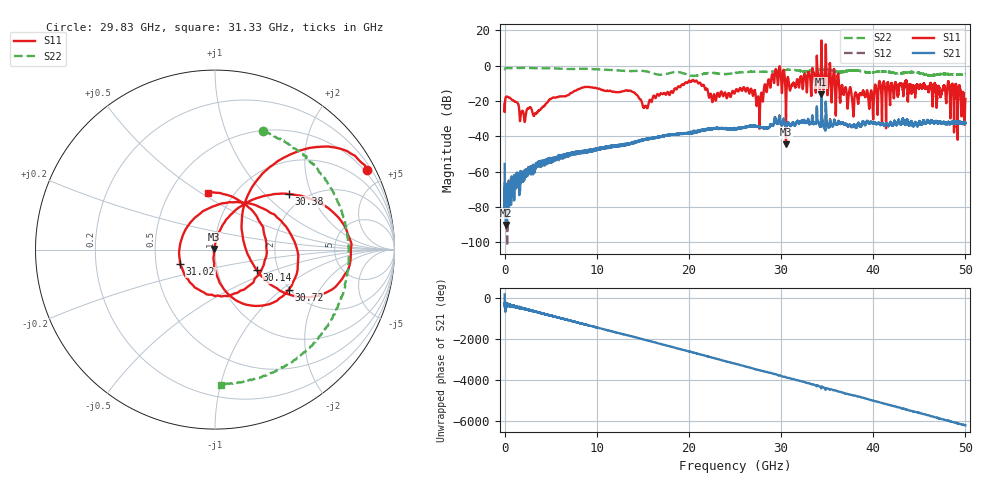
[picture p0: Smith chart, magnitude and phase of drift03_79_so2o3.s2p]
!Created with skrf (http://scikit-rf.org).
# Hz S RI R 50.0
!freq ReS11 ImS11 ReS21 ImS21 ReS12 ImS12 ReS22 ImS22
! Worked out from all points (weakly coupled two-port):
!   10001 points, 300 kHz to 50 GHz, reference 50 ohm
!   highest |S21| = -16.23 dB at 34.37 GHz (marker M1); lowest = -90.3 dB at 170.3 MHz (marker M2)
!   lowest |S11| = -44.5 dB at 30.53 GHz (marker M3), VSWR 1.01, Z = 49.6 + j0.39 ohm
!   |S11| at or under -10 dB: start of sweep to 19.55 GHz; 21.25 GHz to 28.55 GHz (7.297 GHz wide, 29.3 % of centre); 36.28 GHz to 40.61 GHz (4.33 GHz wide, 11.3 % of centre) (the widest 3 of 40)
!   |S22| runs from -5.9 to -1.3 dB; largest |S21 - S12| = 0.027
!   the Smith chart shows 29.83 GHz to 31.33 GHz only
!   S11 on the Smith chart (normalised r, x): 29.83 GHz: 0.40, +4.01; 30.14 GHz: 1.55, -0.38; 30.38 GHz: 1.67, +1.41; 30.72 GHz: 1.97, -1.12; 31.02 GHz: 0.67, -0.11; 31.33 GHz: 0.76, +0.54
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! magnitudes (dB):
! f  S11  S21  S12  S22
! 300 kHz  -21.6  -55.7  -65.7  -2.0
! 170.3 MHz  -17.6  -90.3  -92.3  -1.5
! 3.3 GHz  -27.2  -57.0  -56.6  -1.5
! 8.335 GHz  -12.6  -48.9  -49.2  -1.9
! 15.29 GHz  -22.8  -42.1  -41.8  -3.3
! 16.67 GHz  -16.5  -40.3  -40.5  -5.1
! 20.26 GHz  -9.1  -38.5  -37.6  -5.8
! 22.71 GHz  -16.4  -35.6  -35.7  -4.2
! 25 GHz  -15.3  -35.8  -36.0  -4.3
! 27.53 GHz  -17.8  -34.5  -34.4  -3.5
! 29.83 GHz  -0.4  -29.3  -28.6  -3.0
! 30.14 GHz  -11.7  -33.2  -33.4  -2.7
! 30.38 GHz  -5.7  -32.2  -32.5  -2.6
! 30.53 GHz  -44.5  -34.1  -34.3  -2.5
! 30.72 GHz  -6.6  -32.6  -32.6  -2.4
! 31.02 GHz  -13.6  -34.1  -34.4  -2.4
! 31.33 GHz  -9.9  -32.5  -32.4  -2.5
! 33.34 GHz  -7.4  -31.1  -31.1  -2.9
! 34.37 GHz  14.2  -16.2  -17.5  -2.2
! 37.87 GHz  -28.9  -33.7  -34.1  -2.8
! 41.67 GHz  -11.3  -34.2  -34.0  -3.7
! 50 GHz  -18.9  -32.5  -32.6  -4.9
